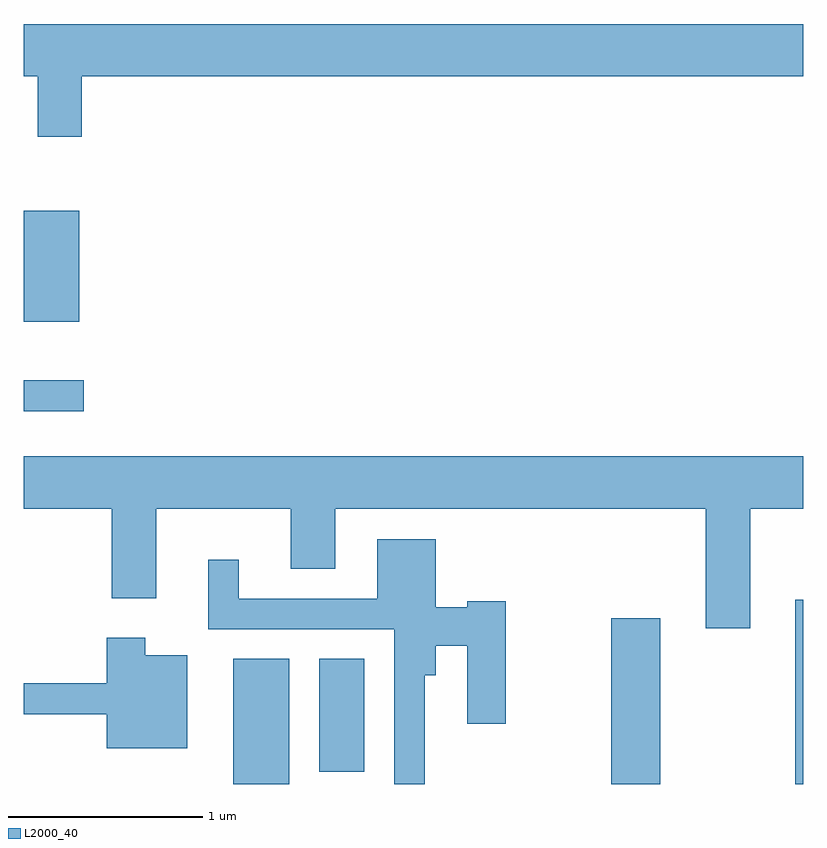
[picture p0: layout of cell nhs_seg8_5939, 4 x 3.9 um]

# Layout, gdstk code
import gdstk
lib = gdstk.Library(unit=1e-6, precision=1e-09)
def R(c, l, rs):  # rectangles x0, y0, x1, y1
    for r in rs: c.add(gdstk.rectangle(r[:2], r[2:], *l))
def P(c, l, *ps):  # polygons
    for p in ps: c.add(gdstk.Polygon(p, *l))
L2000_40 = (2000, 40)

nhs_seg8_5939 = lib.new_cell('nhs_seg8_5939')
R(nhs_seg8_5939, L2000_40, [(364.686,1828.342,364.974,1828.984), (366.626,1828.342,366.879,1829.194), (367.571,1828.342,367.611,1829.289), (365.126,1828.406,365.359,1828.984), (363.611,1830.256,363.918,1830.414), (363.611,1830.716,363.894,1831.284)])
P(nhs_seg8_5939, L2000_40, [(363.909,1831.976),(367.611,1831.976),(367.611,1832.244),(363.611,1832.244),(363.611,1831.976),(363.681,1831.976),(363.681,1831.666),(363.909,1831.666)],
  [(367.339,1829.756),(367.611,1829.756),(367.611,1830.024),(363.611,1830.024),(363.611,1829.756),(364.061,1829.756),(364.061,1829.296),(364.289,1829.296),(364.289,1829.756),(364.981,1829.756),(364.981,1829.446),(365.209,1829.446),(365.209,1829.756),(367.111,1829.756),(367.111,1829.141),(367.339,1829.141)],
  [(365.669,1828.901),(365.724,1828.901),(365.724,1829.051),(365.886,1829.051),(365.886,1828.651),(366.084,1828.651),(366.084,1829.279),(365.886,1829.279),(365.886,1829.249),(365.724,1829.249),(365.724,1829.599),(365.426,1829.599),(365.426,1829.294),(364.714,1829.294),(364.714,1829.493),(364.556,1829.493),(364.556,1829.136),(365.511,1829.136),(365.511,1828.342),(365.669,1828.342)],
  [(364.449,1829.004),(364.234,1829.004),(364.234,1829.094),(364.036,1829.094),(364.036,1828.859),(363.611,1828.859),(363.611,1828.701),(364.036,1828.701),(364.036,1828.526),(364.449,1828.526)])

lib.write_gds('nhs_seg8_5939.gds')
